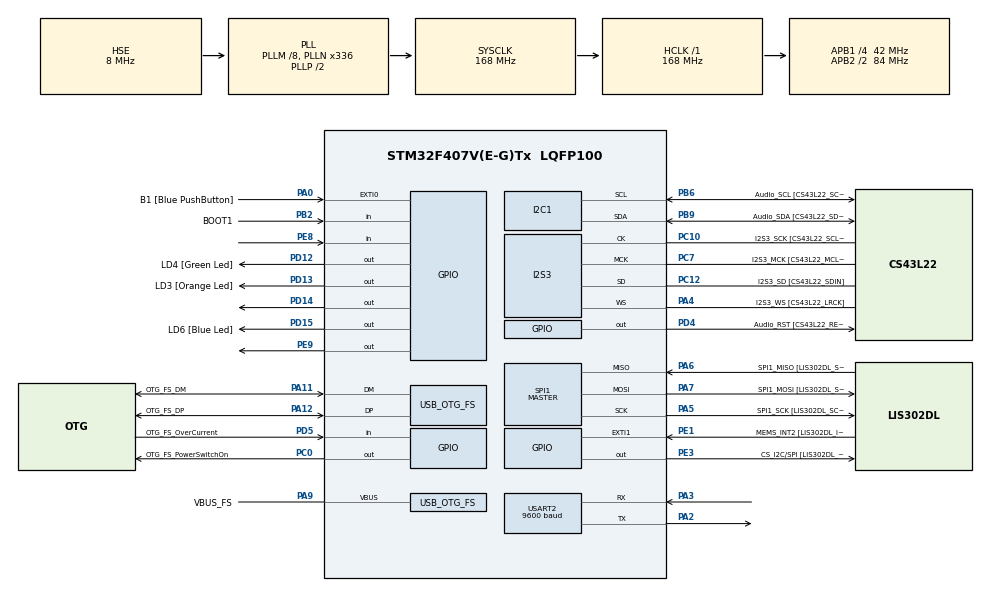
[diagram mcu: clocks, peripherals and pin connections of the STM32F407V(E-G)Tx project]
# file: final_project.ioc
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I2S3.AudioFreq-Half_Duplex_Master=I2S_AUDIOFREQ_96K
I2S3.ErrorAudioFreq=-2.34 %
I2S3.ErrorAudioFreq-Half_Duplex_Master=0.8 %
I2S3.FullDuplexMode=I2S_FULLDUPLEXMODE_DISABLE
I2S3.Instance=SPI$Index
I2S3.RealAudioFreq=93.75 KHz
I2S3.RealAudioFreq-Half_Duplex_Master=96.774 KHz
I2S3.VirtualMode=I2S_MODE_MASTER
Mcu.Family=STM32F4
Mcu.Name=STM32F407V(E-G)Tx
Mcu.Package=LQFP100
NVIC.OTG_FS_IRQn=true\:0\:0\:false\:false\:true\:true\:true
NVIC.PriorityGroup=NVIC_PRIORITYGROUP_0
NVIC.TIM6_DAC_IRQn=true\:0\:0\:false\:false\:true\:true\:true
NVIC.TIM7_IRQn=true\:0\:0\:false\:false\:true\:true\:true
PA0-WKUP.GPIO_Label=B1 [Blue PushButton]
PA0-WKUP.GPIO_ModeDefaultEXTI=GPIO_MODE_EVT_RISING
PA0-WKUP.GPIO_PuPd=GPIO_NOPULL
PA0-WKUP.Signal=GPXTI0
PA10.GPIO_Label=OTG_FS_ID
PA10.GPIO_Mode=GPIO_MODE_AF_PP
PA10.GPIO_PuPd=GPIO_NOPULL
PA10.GPIO_Speed=GPIO_SPEED_FREQ_LOW
PA10.Signal=USB_OTG_FS_ID
PA11.GPIO_Label=OTG_FS_DM
PA11.GPIO_Mode=GPIO_MODE_AF_PP
PA11.GPIO_PuPd=GPIO_NOPULL
PA11.GPIO_Speed=GPIO_SPEED_FREQ_LOW
PA11.Mode=Host_Only
PA11.Signal=USB_OTG_FS_DM
PA12.GPIO_Label=OTG_FS_DP
PA12.GPIO_Mode=GPIO_MODE_AF_PP
PA12.GPIO_PuPd=GPIO_NOPULL
PA12.GPIO_Speed=GPIO_SPEED_FREQ_LOW
PA12.Mode=Host_Only
PA12.Signal=USB_OTG_FS_DP
PA13.GPIO_Label=SWDIO
PA13.Mode=Serial_Wire
PA13.Signal=SYS_JTMS-SWDIO
PA14.GPIO_Label=SWCLK
PA14.Mode=Serial_Wire
PA14.Signal=SYS_JTCK-SWCLK
PA2.Mode=Asynchronous
PA2.Signal=USART2_TX
PA3.Mode=Asynchronous
PA3.Signal=USART2_RX
PA4.GPIO_Label=I2S3_WS [CS43L22_LRCK]
PA4.GPIO_Mode=GPIO_MODE_AF_PP
PA4.GPIO_PuPd=GPIO_NOPULL
PA4.GPIO_Speed=GPIO_SPEED_FREQ_LOW
PA4.Mode=Half_Duplex_Master
PA4.Signal=I2S3_WS
PA5.GPIO_Label=SPI1_SCK [LIS302DL_SCL/SPC]
PA5.GPIO_Mode=GPIO_MODE_AF_PP
PA5.GPIO_PuPd=GPIO_NOPULL
PA5.GPIO_Speed=GPIO_SPEED_FREQ_LOW
PA5.Mode=Full_Duplex_Master
PA5.Signal=SPI1_SCK
PA6.GPIO_Label=SPI1_MISO [LIS302DL_SDO]
PA6.GPIO_Mode=GPIO_MODE_AF_PP
PA6.GPIO_PuPd=GPIO_NOPULL
PA6.GPIO_Speed=GPIO_SPEED_FREQ_LOW
PA6.Mode=Full_Duplex_Master
PA6.Signal=SPI1_MISO
PA7.GPIO_Label=SPI1_MOSI [LIS302DL_SDA/SDI/SDO]
PA7.GPIO_Mode=GPIO_MODE_AF_PP
PA7.GPIO_PuPd=GPIO_NOPULL
PA7.GPIO_Speed=GPIO_SPEED_FREQ_LOW
PA7.Mode=Full_Duplex_Master
PA7.Signal=SPI1_MOSI
PA9.GPIO_Label=VBUS_FS
PA9.GPIO_Mode=GPIO_MODE_INPUT
PA9.GPIO_PuPd=GPIO_NOPULL
PA9.Mode=Activate_VBUS
PA9.Signal=USB_OTG_FS_VBUS
PB10.GPIO_Label=CLK_IN [MP45DT02_CLK]
PB10.GPIO_Mode=GPIO_MODE_AF_PP
PB10.GPIO_PuPd=GPIO_NOPULL
PB10.GPIO_Speed=GPIO_SPEED_FREQ_LOW
PB10.Signal=I2S2_CK
PB2.GPIO_Label=BOOT1
PB2.GPIO_Mode=GPIO_MODE_INPUT
PB2.GPIO_PuPd=GPIO_NOPULL
PB2.Signal=GPIO_Input
PB3.GPIO_Label=SWO
PB3.Signal=SYS_JTDO-SWO
PB6.GPIO_Label=Audio_SCL [CS43L22_SCL]
PB6.GPIO_Mode=GPIO_MODE_AF_OD
PB6.GPIO_PuPd=GPIO_NOPULL
PB6.GPIO_Speed=GPIO_SPEED_FREQ_LOW
PB6.Mode=I2C
PB6.Signal=I2C1_SCL
PB9.GPIO_Label=Audio_SDA [CS43L22_SDA]
PB9.GPIO_Mode=GPIO_MODE_AF_OD
PB9.GPIO_PuPd=GPIO_NOPULL
PB9.GPIO_Speed=GPIO_SPEED_FREQ_LOW
PB9.Mode=I2C
PB9.Signal=I2C1_SDA
PC0.GPIO_Label=OTG_FS_PowerSwitchOn
PC0.GPIO_PuPd=GPIO_NOPULL
PC0.GPIO_Speed=GPIO_SPEED_FREQ_LOW
PC0.PinState=GPIO_PIN_SET
PC0.Signal=GPIO_Output
PC10.GPIO_Label=I2S3_SCK [CS43L22_SCLK]
PC10.GPIO_Mode=GPIO_MODE_AF_PP
PC10.GPIO_PuPd=GPIO_NOPULL
PC10.GPIO_Speed=GPIO_SPEED_FREQ_LOW
PC10.Mode=Half_Duplex_Master
PC10.Signal=I2S3_CK
PC12.GPIO_Label=I2S3_SD [CS43L22_SDIN]
PC12.GPIO_Mode=GPIO_MODE_AF_PP
PC12.GPIO_PuPd=GPIO_NOPULL
PC12.GPIO_Speed=GPIO_SPEED_FREQ_LOW
PC12.Mode=Half_Duplex_Master
PC12.Signal=I2S3_SD
PC14-OSC32_IN.GPIO_Label=PC14-OSC32_IN
PC14-OSC32_IN.Mode=LSE-External-Oscillator
PC14-OSC32_IN.Signal=RCC_OSC32_IN
PC15-OSC32_OUT.GPIO_Label=PC15-OSC32_OUT
PC15-OSC32_OUT.Mode=LSE-External-Oscillator
PC15-OSC32_OUT.Signal=RCC_OSC32_OUT
PC3.GPIO_Label=PDM_OUT [MP45DT02_DOUT]
PC3.GPIO_Mode=GPIO_MODE_AF_PP
PC3.GPIO_PuPd=GPIO_NOPULL
PC3.GPIO_Speed=GPIO_SPEED_FREQ_LOW
PC3.Signal=I2S2_SD
PC7.GPIO_Label=I2S3_MCK [CS43L22_MCLK]
PC7.GPIO_Mode=GPIO_MODE_AF_PP
PC7.GPIO_PuPd=GPIO_NOPULL
PC7.GPIO_Speed=GPIO_SPEED_FREQ_LOW
PC7.Mode=Master_Clock_Activated
PC7.Signal=I2S3_MCK
PD12.GPIO_Label=LD4 [Green Led]
PD12.GPIO_PuPd=GPIO_NOPULL
PD12.GPIO_Speed=GPIO_SPEED_FREQ_LOW
PD12.Signal=GPIO_Output
PD13.GPIO_Label=LD3 [Orange Led]
PD13.GPIO_PuPd=GPIO_NOPULL
PD13.GPIO_Speed=GPIO_SPEED_FREQ_LOW
PD13.Signal=GPIO_Output
PD14.Signal=GPIO_Output
PD15.GPIO_Label=LD6 [Blue Led]
PD15.GPIO_PuPd=GPIO_NOPULL
PD15.GPIO_Speed=GPIO_SPEED_FREQ_LOW
PD15.Signal=GPIO_Output
PD4.GPIO_Label=Audio_RST [CS43L22_RESET]
PD4.GPIO_PuPd=GPIO_NOPULL
PD4.GPIO_Speed=GPIO_SPEED_FREQ_LOW
PD4.Signal=GPIO_Output
PD5.GPIO_Label=OTG_FS_OverCurrent
PD5.GPIO_Mode=GPIO_MODE_INPUT
PD5.GPIO_PuPd=GPIO_NOPULL
PD5.Signal=GPIO_Input
PE1.GPIO_Label=MEMS_INT2 [LIS302DL_INT2]
PE1.GPIO_ModeDefaultEXTI=GPIO_MODE_EVT_RISING
PE1.GPIO_PuPd=GPIO_NOPULL
PE1.Signal=GPXTI1
PE3.GPIO_Label=CS_I2C/SPI [LIS302DL_CS_I2C/SPI]
PE3.GPIO_PuPd=GPIO_NOPULL
PE3.GPIO_Speed=GPIO_SPEED_FREQ_LOW
PE3.Signal=GPIO_Output
PE8.Signal=GPIO_Input
PE9.Signal=GPIO_Output
PH0-OSC_IN.GPIO_Label=PH0-OSC_IN
PH0-OSC_IN.Mode=HSE-External-Oscillator
PH0-OSC_IN.Signal=RCC_OSC_IN
PH1-OSC_OUT.GPIO_Label=PH1-OSC_OUT
PH1-OSC_OUT.Mode=HSE-External-Oscillator
PH1-OSC_OUT.Signal=RCC_OSC_OUT
ProjectManager.HeapSize=0x200
ProjectManager.StackSize=0x400
ProjectManager.TargetToolchain=STM32CubeIDE
RCC.48MHZClocksFreq_Value=48000000
RCC.AHBFreq_Value=168000000
RCC.APB1CLKDivider=RCC_HCLK_DIV4
RCC.APB1Freq_Value=42000000
RCC.APB1TimFreq_Value=84000000
RCC.APB2CLKDivider=RCC_HCLK_DIV2
RCC.APB2Freq_Value=84000000
RCC.APB2TimFreq_Value=168000000
RCC.CortexFreq_Value=168000000
RCC.HCLKFreq_Value=168000000
RCC.HSE_VALUE=8000000
RCC.HSI_VALUE=16000000
RCC.PLLM=8
RCC.PLLN=336
RCC.PLLQ=7
RCC.SYSCLKFreq_VALUE=168000000
RCC.SYSCLKSource=RCC_SYSCLKSOURCE_PLLCLK
RCC.VCOOutputFreq_Value=336000000
SPI1.BaudRatePrescaler-Full_Duplex_Master=SPI_BAUDRATEPRESCALER_2
SPI1.CalculateBaudRate-Full_Duplex_Master=42.0 MBits/s
SPI1.Direction=SPI_DIRECTION_2LINES
SPI1.Mode=SPI_MODE_MASTER
SPI1.Mode-Full_Duplex_Master=SPI_MODE_MASTER
SPI1.VirtualType=VM_MASTER
TIM4.AutoReloadPreload=TIM_AUTORELOAD_PRELOAD_ENABLE
TIM4.Period=999
TIM4.Prescaler=999
TIM6.AutoReloadPreload=TIM_AUTORELOAD_PRELOAD_ENABLE
TIM6.Period=999
TIM6.Prescaler=16799
TIM7.AutoReloadPreload=TIM_AUTORELOAD_PRELOAD_ENABLE
TIM7.Period=999
TIM7.Prescaler=16799
USART2.BaudRate=9600
USART2.VirtualMode=VM_ASYNC
USB_HOST.BSP.number=1
USB_HOST.USBH_HandleTypeDef-CDC_FS=hUsbHostFS
USB_HOST.VirtualModeFS=Cdc
USB_HOST0.BSP.STBoard=false
USB_HOST0.BSP.api=Unknown
USB_HOST0.BSP.i2caddr=0
USB_HOST0.BSP.i2creg=0
USB_HOST0.BSP.instance=PC0
USB_HOST0.BSP.ip=GPIO
USB_HOST0.BSP.mode=Output
USB_HOST0.BSP.name=Drive_VBUS_FS
USB_HOST0.BSP.solution=PC0
USB_OTG_FS.VirtualMode=Host_Only
USB_OTG_FS.phy_itface=HCD_PHY_EMBEDDED
VP_TIM4_VS_ClockSourceINT.Mode=Internal
VP_TIM6_VS_ClockSourceINT.Mode=Enable_Timer
VP_TIM7_VS_ClockSourceINT.Mode=Enable_Timer
VP_USB_HOST_VS_USB_HOST_CDC_FS.Mode=CDC_FS
board=STM32F407G-DISC1

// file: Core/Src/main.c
/* USER CODE BEGIN Header */
/**
  ******************************************************************************
  * @file           : main.c
  * @brief          : Main program body
  ******************************************************************************
  * @attention
  *
  * <h2><center>&copy; Copyright (c) 2019 STMicroelectronics.
  * All rights reserved.</center></h2>
  *
  * This software component is licensed by ST under Ultimate Liberty license
  * SLA0044, the "License"; You may not use this file except in compliance with
  * the License. You may obtain a copy of the License at:
  *                             www.st.com/SLA0044
  *
  ******************************************************************************
  */
/* USER CODE END Header */

#include "main.h"
#include "usb_host.h"

/* USER CODE BEGIN Includes */
#include <stdio.h>
#include <stdint.h>
#include "stopwatch.h"
/* USER CODE END Includes */

/* USER CODE BEGIN PTD */

typedef struct vibStruct {
	int status;
} vibrate;

typedef size_t uart_ret;
/* USER CODE END PTD */

/* USER CODE BEGIN PD */

#define VIBRATE_RUN 0
#define VIBRATE_STOP 1

/* USER CODE END PD */

I2C_HandleTypeDef hi2c1;

I2S_HandleTypeDef hi2s3;

SPI_HandleTypeDef hspi1;

TIM_HandleTypeDef htim4;
TIM_HandleTypeDef htim6;
TIM_HandleTypeDef htim7;

UART_HandleTypeDef huart2;

void SystemClock_Config(void);
static void MX_GPIO_Init(void);
static void MX_I2C1_Init(void);
static void MX_I2S3_Init(void);
static void MX_SPI1_Init(void);
static void MX_TIM6_Init(void);
static void MX_TIM7_Init(void);
static void MX_USART2_UART_Init(void);
static void MX_TIM4_Init(void);
void MX_USB_HOST_Process(void);

/* USER CODE BEGIN 0 */
const size_t ubuffSize = 30;
char ubuff[30];

char sudo[10];
char cmd[10];
char msg[10];
int mode = 0, office = 1, game = 1;
int isplay = 0;

int rec = 0;
HAL_StatusTypeDef hal_rec;

float timeUnit = 0.1;

stopWatch busy;
stopWatch away;

vibrate vib;

float convertTime(int hr, int min, int sec) {
	return ((hr * 60) + min) * 60 + sec;
}

v_error doActionAway(stopWatch * away, stopWatch * busy) {

	if (away->status == STOPWATCH_READY) {
		// do nothing
		if (busy->status == STOPWATCH_TIMEOUT) {
			// START ALERT
			HAL_GPIO_WritePin(GPIOE, GPIO_PIN_9, GPIO_PIN_SET);
		}
		return V_OK;
	} else if (away->status == STOPWATCH_RUN) {
		// decrement AWAY
		stopWatch_decrement(away, timeUnit);
		if (busy->status == STOPWATCH_TIMEOUT) {
			// STOP ALERT
			HAL_GPIO_WritePin(GPIOE, GPIO_PIN_9, GPIO_PIN_RESET);
		}
		return V_OK;
	} else if (away->status == STOPWATCH_TIMEOUT) {

		// halt SIT
		stopWatch_halt(busy);

		// reset SIT
		stopWatch_reset(busy);

		return V_OK;
	} else if (away->status == STOPWATCH_HALT) {

		return V_OK;

	} else {

		// ERROR
		return V_ERROR;

	}

}

v_error doActionBusy(stopWatch * busy) {

	if (busy->status == STOPWATCH_READY) {
		// do nothing
		return V_OK;
	} else if (busy->status == STOPWATCH_RUN) {
		// decrement SIT
		stopWatch_decrement(busy, timeUnit);
		return V_OK;
	} else if (busy->status == STOPWATCH_PAUSE) {
		return V_OK;
	} else if (busy->status == STOPWATCH_TIMEOUT) {
		// ALERT!
		return V_OK;
	} else {

		// ERROR
		return V_ERROR;
	}

}

v_error changeStateAway(stopWatch * away, stopWatch * busy, int checkBit) {

	if (away->status == STOPWATCH_READY) {
		if (busy->status == STOPWATCH_PAUSE) {
			stopWatch_start(away);
			return V_OK;
		} else if (busy->status == STOPWATCH_TIMEOUT && checkBit == 0) {
			stopWatch_start(away);
			return V_OK;
		} else {
			return V_OK;
		}
	} else if (away->status == STOPWATCH_RUN) {

		if (busy->status == STOPWATCH_TIMEOUT && checkBit == 1) {
			stopWatch_halt(away);
			stopWatch_reset(away);
		}

		// check TIMEOUT
		if (away->timeCounter <= 0) {
			// TIMEOUT
			stopWatch_timeout(away);
			return V_OK;
		} else {
			// check SIT
			if (busy->status == STOPWATCH_RUN) {
				stopWatch_halt(away);
				stopWatch_reset(away);
				return V_OK;
			} else {
				// do nothing
				return V_OK;
			}
		}
	} else if (away->status == STOPWATCH_TIMEOUT) {
		if (busy->status == STOPWATCH_READY || busy->status == STOPWATCH_RUN) {
			stopWatch_reset(away);
			return V_OK;
		} else {
			return V_OK;
		}

	} else if (away->status == STOPWATCH_HALT) {

		return V_OK;

	} else {

		// ERROR
		return V_ERROR;

	}
}

v_error changeStateBusy(stopWatch * busy, int checkBit) {

	if (busy->status == STOPWATCH_READY) {
		if (checkBit == 1) {
			stopWatch_start(busy);
			return V_OK;
		} else if (checkBit == 0) {
			// do nothing
			return V_OK;
		} else {
			// ERROR
			return V_ERROR;
		}
	} else if (busy->status == STOPWATCH_RUN) {
		// check TIMEOUT
		if (busy->timeCounter <= 0) {
			// TIMEOUT
			stopWatch_timeout(busy);
			return V_OK;
		} else {
			if (checkBit == 1) {
				// do nothing
				return V_OK;
			} else if (checkBit == 0) {
				stopWatch_pause(busy);
				return V_OK;
			} else {
				// ERROR
				return V_ERROR;
			}
		}
	} else if (busy->status == STOPWATCH_PAUSE) {
		if (checkBit == 1) {
			stopWatch_continue(busy);
			return V_OK;
		} else if (checkBit == 0) {
			// do nothing
			return V_OK;
		} else {
			// ERROR
			return V_ERROR;
		}
	} else if (busy->status == STOPWATCH_TIMEOUT) {

		// ALERT!
		return V_OK;

	} else {

		// ERROR
		return V_ERROR;
	}
}

int isSitting() {
	if (HAL_GPIO_ReadPin(GPIOE, GPIO_PIN_8) == GPIO_PIN_SET) {
		return 1;
	} else {
		return 0;
	}
}

int isPlaying() {
	return isplay;
}

void HAL_TIM_PeriodElapsedCallback(TIM_HandleTypeDef *htim) {
	if (htim == &htim6) {

		// check MODE
		int checkBit;
		if (mode == 0) {
			// OFFICE MODE
			checkBit = isSitting();
		} else if (mode == 1) {
			// GAMEING MODE
			checkBit = isPlaying();
		} else {
			// ERROR
		}

		if (checkBit == 1) {
			HAL_GPIO_WritePin(GPIOD, GPIO_PIN_14, GPIO_PIN_SET);
		} else {
			HAL_GPIO_WritePin(GPIOD, GPIO_PIN_14, GPIO_PIN_RESET);
		}

		doActionBusy(&busy);
		doActionAway(&away, &busy);

		changeStateBusy(&busy, checkBit);
		changeStateAway(&away, &busy, checkBit);

	} else if (htim == &htim7) {
	}
}

v_error setMode(int modeArg, int officeArg, int gameArg) {

	stopWatch_halt(&busy);
	stopWatch_halt(&away);

	mode = modeArg;
	office = officeArg;
	game = gameArg;

	// reset AWAY
	stopWatch_halt(&away);
	stopWatch_reset(&away);

	// initialize BUSY
	if (mode == 0) {
		stopWatch_init(&busy, convertTime(0, 0, office));
	} else if (mode == 1) {
		stopWatch_init(&busy, convertTime(0, 0, game));
	} else {
		return V_ERROR;
	}
	return V_OK;

}

/* USER CODE END 0 */

int main(void)
{

  /* MCU Configuration--------------------------------------------------------*/

  /* Reset of all peripherals, Initializes the Flash interface and the Systick. */
  HAL_Init();

  /* Configure the system clock */
  SystemClock_Config();

  /* Initialize all configured peripherals */
  MX_GPIO_Init();
  MX_I2C1_Init();
  MX_I2S3_Init();
  MX_SPI1_Init();
  MX_USB_HOST_Init();
  MX_TIM6_Init();
  MX_TIM7_Init();
  MX_USART2_UART_Init();
  MX_TIM4_Init();
  /* USER CODE BEGIN 2 */
//  HAL_TIM_Base_Start_IT(&htim6);
//  HAL_TIM_Base_Start_IT(&htim7);

  stopWatch_init(&busy, convertTime(0, 0, 10));
  stopWatch_init(&away, convertTime(0, 0, 10));

  HAL_TIM_Base_Start_IT(&htim6);
  //HAL_TIM_PWM_Init(&htim4);

  /* USER CODE END 2 */

  /* Infinite loop */
  /* USER CODE BEGIN WHILE */
  while (1)
  {

	    // static cast (char *) to (uint_8 *) to suppress warnings.
	hal_rec = HAL_UART_Receive(&huart2, ubuff, sizeof(ubuff), 20000);
	if (hal_rec == HAL_OK) {
		rec = 1;

		int arg1 = 0, arg2 = 1, arg3 = 1;

		sscanf(ubuff, "%s %s %d %d %d", sudo, cmd, &arg1, &arg2, &arg3);
		memset(ubuff,0,sizeof(ubuff));
		int i = 0;

		if (strcmp(cmd, "echo") == 0) {

			// echo msg back ...
			char ret[20] = "echo";
			HAL_UART_Transmit(&huart2, ret, strlen(ret), 1000);

		} else if (strcmp(cmd, "set") == 0) {

			// set mode office game alarm
			setMode(arg1, arg2, arg3);

		} else if (strcmp(cmd, "isplay") == 0) {

			// set mode office game alarm
			isplay = arg1;

		} else {
		}
	} else {
		memset(ubuff,0,sizeof(ubuff));
	}

	HAL_Delay(1000);
    /* USER CODE END WHILE */
    MX_USB_HOST_Process();

  }
}

void SystemClock_Config(void)
{
  RCC_OscInitTypeDef RCC_OscInitStruct = {0};
  RCC_ClkInitTypeDef RCC_ClkInitStruct = {0};
  RCC_PeriphCLKInitTypeDef PeriphClkInitStruct = {0};

  /** Configure the main internal regulator output voltage
  */
  __HAL_RCC_PWR_CLK_ENABLE();
  __HAL_PWR_VOLTAGESCALING_CONFIG(PWR_REGULATOR_VOLTAGE_SCALE1);
  /** Initializes the CPU, AHB and APB busses clocks
  */
  RCC_OscInitStruct.OscillatorType = RCC_OSCILLATORTYPE_HSE;
  RCC_OscInitStruct.HSEState = RCC_HSE_ON;
  RCC_OscInitStruct.PLL.PLLState = RCC_PLL_ON;
  RCC_OscInitStruct.PLL.PLLSource = RCC_PLLSOURCE_HSE;
  RCC_OscInitStruct.PLL.PLLM = 8;
  RCC_OscInitStruct.PLL.PLLN = 336;
  RCC_OscInitStruct.PLL.PLLP = RCC_PLLP_DIV2;
  RCC_OscInitStruct.PLL.PLLQ = 7;
  if (HAL_RCC_OscConfig(&RCC_OscInitStruct) != HAL_OK)
  {
    Error_Handler();
  }
  /** Initializes the CPU, AHB and APB busses clocks
  */
  RCC_ClkInitStruct.ClockType = RCC_CLOCKTYPE_HCLK|RCC_CLOCKTYPE_SYSCLK
                              |RCC_CLOCKTYPE_PCLK1|RCC_CLOCKTYPE_PCLK2;
  RCC_ClkInitStruct.SYSCLKSource = RCC_SYSCLKSOURCE_PLLCLK;
  RCC_ClkInitStruct.AHBCLKDivider = RCC_SYSCLK_DIV1;
  RCC_ClkInitStruct.APB1CLKDivider = RCC_HCLK_DIV4;
  RCC_ClkInitStruct.APB2CLKDivider = RCC_HCLK_DIV2;

  if (HAL_RCC_ClockConfig(&RCC_ClkInitStruct, FLASH_LATENCY_5) != HAL_OK)
  {
    Error_Handler();
  }
  PeriphClkInitStruct.PeriphClockSelection = RCC_PERIPHCLK_I2S;
  PeriphClkInitStruct.PLLI2S.PLLI2SN = 192;
  PeriphClkInitStruct.PLLI2S.PLLI2SR = 2;
  if (HAL_RCCEx_PeriphCLKConfig(&PeriphClkInitStruct) != HAL_OK)
  {
    Error_Handler();
  }
}

static void MX_I2C1_Init(void)
{

  hi2c1.Instance = I2C1;
  hi2c1.Init.ClockSpeed = 100000;
  hi2c1.Init.DutyCycle = I2C_DUTYCYCLE_2;
  hi2c1.Init.OwnAddress1 = 0;
  hi2c1.Init.AddressingMode = I2C_ADDRESSINGMODE_7BIT;
  hi2c1.Init.DualAddressMode = I2C_DUALADDRESS_DISABLE;
  hi2c1.Init.OwnAddress2 = 0;
  hi2c1.Init.GeneralCallMode = I2C_GENERALCALL_DISABLE;
  hi2c1.Init.NoStretchMode = I2C_NOSTRETCH_DISABLE;
  if (HAL_I2C_Init(&hi2c1) != HAL_OK)
  {
    Error_Handler();
  }

}

static void MX_I2S3_Init(void)
{

  hi2s3.Instance = SPI3;
  hi2s3.Init.Mode = I2S_MODE_MASTER_TX;
  hi2s3.Init.Standard = I2S_STANDARD_PHILIPS;
  hi2s3.Init.DataFormat = I2S_DATAFORMAT_16B;
  hi2s3.Init.MCLKOutput = I2S_MCLKOUTPUT_ENABLE;
  hi2s3.Init.AudioFreq = I2S_AUDIOFREQ_96K;
  hi2s3.Init.CPOL = I2S_CPOL_LOW;
  hi2s3.Init.ClockSource = I2S_CLOCK_PLL;
  hi2s3.Init.FullDuplexMode = I2S_FULLDUPLEXMODE_DISABLE;
  if (HAL_I2S_Init(&hi2s3) != HAL_OK)
  {
    Error_Handler();
  }

}

static void MX_SPI1_Init(void)
{

  /* SPI1 parameter configuration*/
  hspi1.Instance = SPI1;
  hspi1.Init.Mode = SPI_MODE_MASTER;
  hspi1.Init.Direction = SPI_DIRECTION_2LINES;
  hspi1.Init.DataSize = SPI_DATASIZE_8BIT;
  hspi1.Init.CLKPolarity = SPI_POLARITY_LOW;
  hspi1.Init.CLKPhase = SPI_PHASE_1EDGE;
  hspi1.Init.NSS = SPI_NSS_SOFT;
  hspi1.Init.BaudRatePrescaler = SPI_BAUDRATEPRESCALER_2;
  hspi1.Init.FirstBit = SPI_FIRSTBIT_MSB;
  hspi1.Init.TIMode = SPI_TIMODE_DISABLE;
  hspi1.Init.CRCCalculation = SPI_CRCCALCULATION_DISABLE;
  hspi1.Init.CRCPolynomial = 10;
  if (HAL_SPI_Init(&hspi1) != HAL_OK)
  {
    Error_Handler();
  }

}

static void MX_TIM4_Init(void)
{

  TIM_ClockConfigTypeDef sClockSourceConfig = {0};
  TIM_MasterConfigTypeDef sMasterConfig = {0};

  htim4.Instance = TIM4;
  htim4.Init.Prescaler = 999;
  htim4.Init.CounterMode = TIM_COUNTERMODE_UP;
  htim4.Init.Period = 999;
  htim4.Init.ClockDivision = TIM_CLOCKDIVISION_DIV1;
  htim4.Init.AutoReloadPreload = TIM_AUTORELOAD_PRELOAD_ENABLE;
  if (HAL_TIM_Base_Init(&htim4) != HAL_OK)
  {
    Error_Handler();
  }
  sClockSourceConfig.ClockSource = TIM_CLOCKSOURCE_INTERNAL;
  if (HAL_TIM_ConfigClockSource(&htim4, &sClockSourceConfig) != HAL_OK)
  {
    Error_Handler();
  }
  sMasterConfig.MasterOutputTrigger = TIM_TRGO_RESET;
  sMasterConfig.MasterSlaveMode = TIM_MASTERSLAVEMODE_DISABLE;
  if (HAL_TIMEx_MasterConfigSynchronization(&htim4, &sMasterConfig) != HAL_OK)
  {
    Error_Handler();
  }

}

static void MX_TIM6_Init(void)
{

  TIM_MasterConfigTypeDef sMasterConfig = {0};

  htim6.Instance = TIM6;
  htim6.Init.Prescaler = 16799;
  htim6.Init.CounterMode = TIM_COUNTERMODE_UP;
  htim6.Init.Period = 999;
  htim6.Init.AutoReloadPreload = TIM_AUTORELOAD_PRELOAD_ENABLE;
  if (HAL_TIM_Base_Init(&htim6) != HAL_OK)
  {
    Error_Handler();
  }
  sMasterConfig.MasterOutputTrigger = TIM_TRGO_RESET;
  sMasterConfig.MasterSlaveMode = TIM_MASTERSLAVEMODE_DISABLE;
  if (HAL_TIMEx_MasterConfigSynchronization(&htim6, &sMasterConfig) != HAL_OK)
  {
    Error_Handler();
  }

}

static void MX_TIM7_Init(void)
{

  TIM_MasterConfigTypeDef sMasterConfig = {0};

  htim7.Instance = TIM7;
  htim7.Init.Prescaler = 16799;
  htim7.Init.CounterMode = TIM_COUNTERMODE_UP;
  htim7.Init.Period = 999;
  htim7.Init.AutoReloadPreload = TIM_AUTORELOAD_PRELOAD_ENABLE;
  if (HAL_TIM_Base_Init(&htim7) != HAL_OK)
  {
    Error_Handler();
  }
  sMasterConfig.MasterOutputTrigger = TIM_TRGO_RESET;
  sMasterConfig.MasterSlaveMode = TIM_MASTERSLAVEMODE_DISABLE;
  if (HAL_TIMEx_MasterConfigSynchronization(&htim7, &sMasterConfig) != HAL_OK)
  {
    Error_Handler();
  }

}

static void MX_USART2_UART_Init(void)
{

  huart2.Instance = USART2;
  huart2.Init.BaudRate = 9600;
  huart2.Init.WordLength = UART_WORDLENGTH_8B;
  huart2.Init.StopBits = UART_STOPBITS_1;
  huart2.Init.Parity = UART_PARITY_NONE;
  huart2.Init.Mode = UART_MODE_TX_RX;
  huart2.Init.HwFlowCtl = UART_HWCONTROL_NONE;
  huart2.Init.OverSampling = UART_OVERSAMPLING_16;
  if (HAL_UART_Init(&huart2) != HAL_OK)
  {
    Error_Handler();
  }

}

static void MX_GPIO_Init(void)
{
  GPIO_InitTypeDef GPIO_InitStruct = {0};

  /* GPIO Ports Clock Enable */
  __HAL_RCC_GPIOE_CLK_ENABLE();
  __HAL_RCC_GPIOC_CLK_ENABLE();
  __HAL_RCC_GPIOH_CLK_ENABLE();
  __HAL_RCC_GPIOA_CLK_ENABLE();
  __HAL_RCC_GPIOB_CLK_ENABLE();
  __HAL_RCC_GPIOD_CLK_ENABLE();

  /*Configure GPIO pin Output Level */
  HAL_GPIO_WritePin(GPIOE, CS_I2C_SPI_Pin|GPIO_PIN_9, GPIO_PIN_RESET);

  /*Configure GPIO pin Output Level */
  HAL_GPIO_WritePin(OTG_FS_PowerSwitchOn_GPIO_Port, OTG_FS_PowerSwitchOn_Pin, GPIO_PIN_SET);

  /*Configure GPIO pin Output Level */
  HAL_GPIO_WritePin(GPIOD, LD4_Pin|LD3_Pin|GPIO_PIN_14|LD6_Pin
                          |Audio_RST_Pin, GPIO_PIN_RESET);

  /*Configure GPIO pins : CS_I2C_SPI_Pin PE9 */
  GPIO_InitStruct.Pin = CS_I2C_SPI_Pin|GPIO_PIN_9;
  GPIO_InitStruct.Mode = GPIO_MODE_OUTPUT_PP;
  GPIO_InitStruct.Pull = GPIO_NOPULL;
  GPIO_InitStruct.Speed = GPIO_SPEED_FREQ_LOW;
  HAL_GPIO_Init(GPIOE, &GPIO_InitStruct);

  /*Configure GPIO pin : OTG_FS_PowerSwitchOn_Pin */
  GPIO_InitStruct.Pin = OTG_FS_PowerSwitchOn_Pin;
  GPIO_InitStruct.Mode = GPIO_MODE_OUTPUT_PP;
  GPIO_InitStruct.Pull = GPIO_NOPULL;
  GPIO_InitStruct.Speed = GPIO_SPEED_FREQ_LOW;
  HAL_GPIO_Init(OTG_FS_PowerSwitchOn_GPIO_Port, &GPIO_InitStruct);

  /*Configure GPIO pin : PDM_OUT_Pin */
  GPIO_InitStruct.Pin = PDM_OUT_Pin;
  GPIO_InitStruct.Mode = GPIO_MODE_AF_PP;
  GPIO_InitStruct.Pull = GPIO_NOPULL;
  GPIO_InitStruct.Speed = GPIO_SPEED_FREQ_LOW;
  GPIO_InitStruct.Alternate = GPIO_AF5_SPI2;
  HAL_GPIO_Init(PDM_OUT_GPIO_Port, &GPIO_InitStruct);

  /*Configure GPIO pin : B1_Pin */
  GPIO_InitStruct.Pin = B1_Pin;
  GPIO_InitStruct.Mode = GPIO_MODE_EVT_RISING;
  GPIO_InitStruct.Pull = GPIO_NOPULL;
  HAL_GPIO_Init(B1_GPIO_Port, &GPIO_InitStruct);

  /*Configure GPIO pin : BOOT1_Pin */
  GPIO_InitStruct.Pin = BOOT1_Pin;
  GPIO_InitStruct.Mode = GPIO_MODE_INPUT;
  GPIO_InitStruct.Pull = GPIO_NOPULL;
  HAL_GPIO_Init(BOOT1_GPIO_Port, &GPIO_InitStruct);

  /*Configure GPIO pin : PE8 */
  GPIO_InitStruct.Pin = GPIO_PIN_8;
  GPIO_InitStruct.Mode = GPIO_MODE_INPUT;
  GPIO_InitStruct.Pull = GPIO_NOPULL;
  HAL_GPIO_Init(GPIOE, &GPIO_InitStruct);

  /*Configure GPIO pin : CLK_IN_Pin */
  GPIO_InitStruct.Pin = CLK_IN_Pin;
  GPIO_InitStruct.Mode = GPIO_MODE_AF_PP;
  GPIO_InitStruct.Pull = GPIO_NOPULL;
  GPIO_InitStruct.Speed = GPIO_SPEED_FREQ_LOW;
  GPIO_InitStruct.Alternate = GPIO_AF5_SPI2;
  HAL_GPIO_Init(CLK_IN_GPIO_Port, &GPIO_InitStruct);

  /*Configure GPIO pins : LD4_Pin LD3_Pin PD14 LD6_Pin
                           Audio_RST_Pin */
  GPIO_InitStruct.Pin = LD4_Pin|LD3_Pin|GPIO_PIN_14|LD6_Pin
                          |Audio_RST_Pin;
  GPIO_InitStruct.Mode = GPIO_MODE_OUTPUT_PP;
  GPIO_InitStruct.Pull = GPIO_NOPULL;
  GPIO_InitStruct.Speed = GPIO_SPEED_FREQ_LOW;
  HAL_GPIO_Init(GPIOD, &GPIO_InitStruct);

  /*Configure GPIO pin : OTG_FS_OverCurrent_Pin */
  GPIO_InitStruct.Pin = OTG_FS_OverCurrent_Pin;
  GPIO_InitStruct.Mode = GPIO_MODE_INPUT;
  GPIO_InitStruct.Pull = GPIO_NOPULL;
  HAL_GPIO_Init(OTG_FS_OverCurrent_GPIO_Port, &GPIO_InitStruct);

  /*Configure GPIO pin : MEMS_INT2_Pin */
  GPIO_InitStruct.Pin = MEMS_INT2_Pin;
  GPIO_InitStruct.Mode = GPIO_MODE_EVT_RISING;
  GPIO_InitStruct.Pull = GPIO_NOPULL;
  HAL_GPIO_Init(MEMS_INT2_GPIO_Port, &GPIO_InitStruct);

}

void Error_Handler(void)
{
}

/************************ (C) COPYRIGHT STMicroelectronics *****END OF FILE****/
